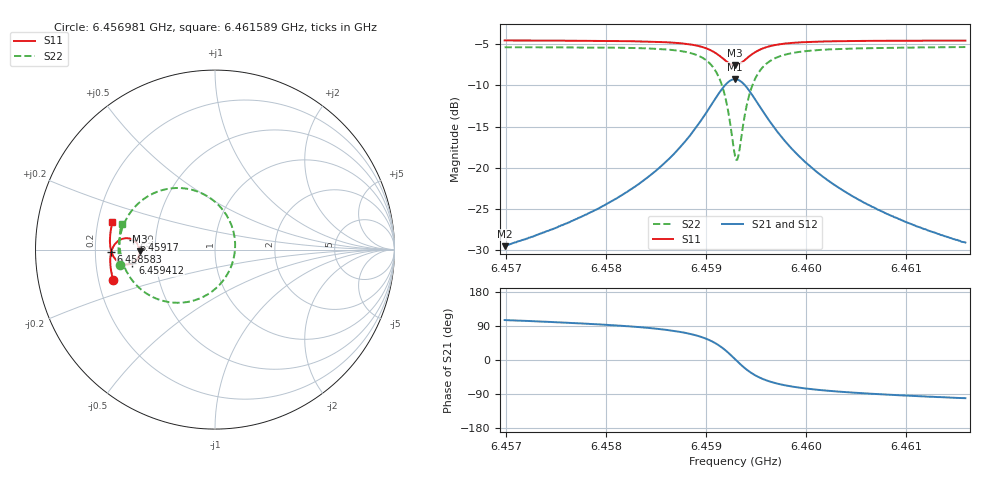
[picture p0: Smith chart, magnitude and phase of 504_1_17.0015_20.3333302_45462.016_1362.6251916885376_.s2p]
#  HZ  S  RI  R  50.00
! Rohde & Schwarz Vector Network Analyzer
! Rohde-Schwarz,ZNB20-2Port,1311601062101988,3.16
! Created: UTC 3/20/2024, 11:14:42 PM
! freq[Hz]  re:S11  im:S11  re:S21  im:S21  re:S12  im:S12  re:S22  im:S22
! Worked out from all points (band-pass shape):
!   401 points, 6.456981 GHz to 6.461589 GHz, reference 50 ohm
!   highest |S21| = -9.25 dB at 6.459285 GHz (marker M1); lowest = -29.5 dB at 6.456981 GHz (marker M2)
!   |S21| within 3 dB of the highest: 6.459055 GHz to 6.459516 GHz (461 kHz wide, 0.00714 % of centre)
!   lowest |S11| = -7.6 dB at 6.459285 GHz (marker M3), VSWR 2.44, Z = 20.5 - j0.486 ohm
!   |S11| at or under -10 dB: nowhere
!   |S22| runs from -19.0 to -5.4 dB; largest |S21 - S12| = 0.014
!   S11 on the Smith chart (normalised r, x): 6.456981 GHz: 0.26, -0.14; 6.458583 GHz: 0.27, -0.01; 6.45917 GHz: 0.37, +0.05; 6.459412 GHz: 0.37, -0.07; 6.461589 GHz: 0.26, +0.12
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6.4569813e9  -0.5668 -0.172  -0.0089 0.0322  -0.00714 0.0323  -0.532 -0.0845
6.4577531e9  -0.5808 -0.1044  -0.00564 0.0503  -0.00303 0.0497  -0.5375 0.00564
6.4581793e9  -0.5836 -0.0618  0.00044 0.0698  0.00367 0.0685  -0.5293 0.0731
6.4585249e9  -0.5798 -0.0205  0.0141 0.0986  0.0181 0.0959  -0.5038 0.1509
6.4585825e9  -0.578 -0.0126  0.0186 0.1054  0.0227 0.1023  -0.4957 0.1674
6.4587899e9  -0.565 0.0195  0.046 0.1378  0.0502 0.1328  -0.4443 0.2401
6.4589396e9  -0.5424 0.0457  0.0912 0.1682  0.0945 0.1615  -0.3608 0.3043
6.4590778e9  -0.4987 0.0633  0.1781 0.1848  0.1792 0.1773  -0.2017 0.3432
6.45917e9  -0.4543 0.053  0.2679 0.1536  0.2683 0.1476  -0.0355 0.2929
6.4592391e9  -0.4253 0.0212  0.3284 0.0819  0.3305 0.0764  0.0799 0.1638
6.4592852e9  -0.4184 -0.00978  0.3446 0.014  0.3483 0.00705  0.1121 0.0369
6.4592967e9  -0.4189 -0.0178  0.3446 -0.00373  0.3484 -0.0114  0.1117 0.00338
6.4593198e9  -0.4224 -0.0333  0.3388 -0.0384  0.3427 -0.0475  0.1008 -0.0624
6.4593658e9  -0.4378 -0.0593  0.3104 -0.0982  0.3125 -0.11  0.0431 -0.1754
6.4594119e9  -0.4599 -0.0756  0.2685 -0.1391  0.2676 -0.1523  -0.0419 -0.2501
6.4595041e9  -0.5033 -0.0823  0.1839 -0.1701  0.1775 -0.1818  -0.2105 -0.2963
6.4596538e9  -0.547 -0.0619  0.0961 -0.1563  0.0877 -0.1626  -0.378 -0.2469
6.4598151e9  -0.5684 -0.0342  0.0512 -0.1285  0.0437 -0.1313  -0.4584 -0.1748
6.460057e9  -0.581 0.00139  0.0222 -0.097  0.0163 -0.0976  -0.5063 -0.0924
6.4604026e9  -0.5856 0.0424  0.00622 -0.0703  0.00212 -0.0698  -0.5277 -0.0133
6.4608288e9  -0.5835 0.0852  -0.00154 -0.0517  -0.00429 -0.0509  -0.5318 0.0548
6.4615891e9  -0.5713 0.1525  -0.00654 -0.0346  -0.0082 -0.0335  -0.5204 0.1446
